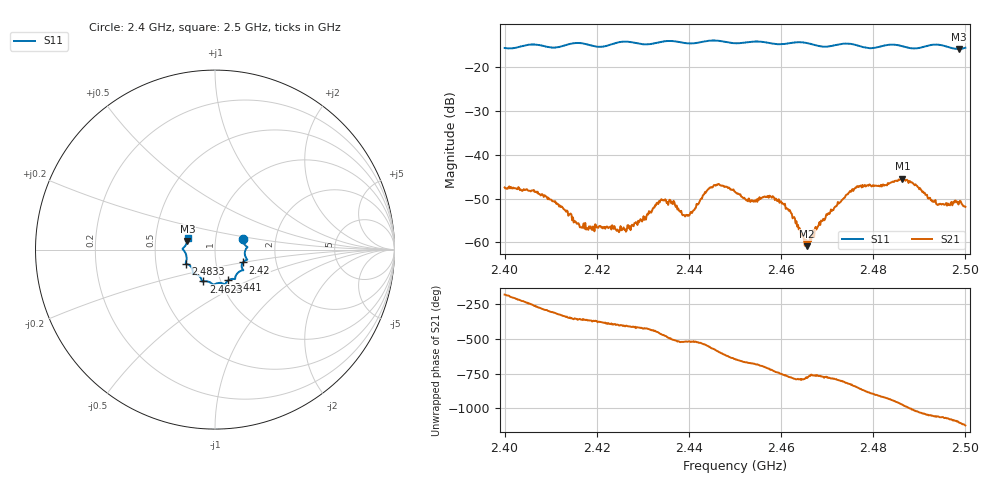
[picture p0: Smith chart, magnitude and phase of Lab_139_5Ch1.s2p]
# Hz S RI R 50
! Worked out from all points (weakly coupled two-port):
!   601 points, 2.4 GHz to 2.5 GHz, reference 50 ohm
!   highest |S21| = -45.48 dB at 2.4863 GHz (marker M1); lowest = -60.9 dB at 2.4657 GHz (marker M2)
!   lowest |S11| = -15.9 dB at 2.4987 GHz (marker M3), VSWR 1.38, Z = 36.5 + j3.47 ohm
!   |S11| at or under -10 dB: start of sweep to end of sweep
!   S12 and S22 are empty: the file has one direction only
!   S11 on the Smith chart (normalised r, x): 2.4 GHz: 1.35, +0.16; 2.42 GHz: 1.35, -0.20; 2.441 GHz: 1.09, -0.39; 2.4623 GHz: 0.83, -0.30; 2.4833 GHz: 0.71, -0.12; 2.5 GHz: 0.73, +0.10
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2.4e9  0.1541 0.0592  -0.00424 -6.08e-05  0 0  0 0
2.408667e9  0.1729 0.00436  0.00109 0.00328  0 0  0 0
2.416667e9  0.1782 -0.057  0.00148 -1.63e-06  0 0  0 0
2.42e9  0.1554 -0.0713  0.00146 -0.000242  0 0  0 0
2.426833e9  0.1568 -0.1151  0.00103 -0.00119  0 0  0 0
2.433333e9  0.1129 -0.1538  -8.22e-05 -0.00273  0 0  0 0
2.436333e9  0.1107 -0.1643  -0.00231 -0.00175  0 0  0 0
2.439167e9  0.093 -0.1633  -0.00184 -0.000717  0 0  0 0
2.441e9  0.0752 -0.1707  -0.00212 -0.000945  0 0  0 0
2.445833e9  0.0533 -0.1939  -0.00337 0.00288  0 0  0 0
2.45e9  0.0251 -0.1855  0.000898 0.00369  0 0  0 0
2.453833e9  -0.00509 -0.195  0.00213 0.00207  0 0  0 0
2.458e9  -0.0245 -0.1842  0.00323 -0.000133  0 0  0 0
2.462333e9  -0.0654 -0.1774  0.00108 -0.00182  0 0  0 0
2.465667e9  -0.074 -0.1725  0.000455 -0.000784  0 0  0 0
2.466667e9  -0.0757 -0.1661  0.000967 -0.000718  0 0  0 0
2.475e9  -0.1247 -0.1356  -0.000957 -0.00376  0 0  0 0
2.483333e9  -0.1615 -0.0785  -0.00398 0.00242  0 0  0 0
2.486333e9  -0.1601 -0.0652  -0.00154 0.00509  0 0  0 0
2.494167e9  -0.1799 0.00585  0.00254 0.00102  0 0  0 0
2.498667e9  -0.1541 0.0462  0.00267 -0.00114  0 0  0 0
2.5e9  -0.1527 0.0654  0.00187 -0.00172  0 0  0 0
